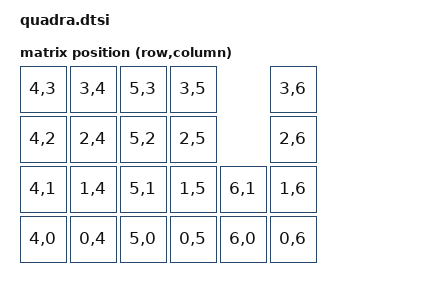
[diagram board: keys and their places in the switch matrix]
#include <dt-bindings/zmk/matrix_transform.h>
#include <dt-bindings/pinctrl/nrf-pinctrl.h>

/ {
    chosen {
        /* 標準のキースキャンとしてkscan0を素直に指定 */
        zmk,kscan = &kscan0;
    };

    default_transform: keymap_transform_0 {
        compatible = "zmk,matrix-transform";
        columns = <6>;
        rows = <4>;
        map = <
            /* ROW 0 */
            RC(4,3) RC(3,4) RC(5,3) RC(3,5)         RC(3,6)
            /* ROW 1 */
            RC(4,2) RC(2,4) RC(5,2) RC(2,5)         RC(2,6)
            /* ROW 2 */
            RC(4,1) RC(1,4) RC(5,1) RC(1,5) RC(6,1) RC(1,6)
            /* ROW 3 */
            RC(4,0) RC(0,4) RC(5,0) RC(0,5) RC(6,0) RC(0,6)
        >;
    };

};

/* LED (SK6812MINI) 用に SPI1 の MOSI ピンを D4 (P0.29) に再定義 */
&pinctrl {
    spi1_default: spi1_default {
        group1 {
            psels = <NRF_PSEL(SPIM_MOSI, 0, 29)>;
        };
    };
    spi1_sleep: spi1_sleep {
        group1 {
            psels = <NRF_PSEL(SPIM_MOSI, 0, 29)>;
            low-power-enable;
        };
    };
};

&spi1 {
    compatible = "nordic,nrf-spim";
    status = "okay";
    pinctrl-0 = <&spi1_default>;
    pinctrl-1 = <&spi1_sleep>;
    pinctrl-names = "default", "sleep";

    led_strip: ws2812@0 {
        compatible = "worldsemi,ws2812-spi";
        reg = <0>;
        spi-max-frequency = <4000000>;
        chain-length = <22>;
        spi-one-frame = <0x70>;
        spi-zero-frame = <0x40>;
        color-mapping = <3 2 1>; /* GRB カラーマッピング */
    };
};
